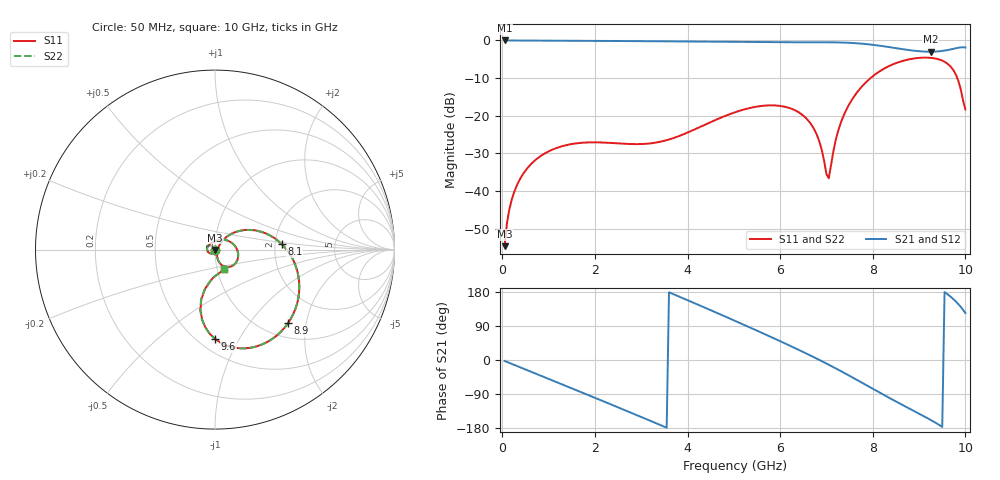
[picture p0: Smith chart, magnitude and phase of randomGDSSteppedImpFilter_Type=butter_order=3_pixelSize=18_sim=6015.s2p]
! freq	dB(S11)	phase(S11)	dB(S12)	phase(S12)
!  dB(S21)	phase(S21)	dB(S22)	phase(S22)
!S-par simulation data
#  GHz  S  DB  R 50
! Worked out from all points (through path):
!   200 points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, 50 MHz to 10 GHz, reference 50 ohm
!   highest |S21| = 0.00 dB at 50 MHz (marker M1); lowest = -3.0 dB at 9.25 GHz (marker M2)
!   group delay of S21, straight-line fit = 157 ps
!   lowest |S11| = -54.6 dB at 50 MHz (marker M3), VSWR 1.00, Z = 50 - j0.186 ohm
!   |S11| at or under -10 dB: start of sweep to 7.951 GHz; 9.825 GHz to end of sweep
!   |S22| runs from -54.6 to -4.6 dB; largest |S21 - S12| = 0
!   S11 on the Smith chart (normalised r, x): 50 MHz: 1.00, -0.00; 8.1 GHz: 2.17, +0.16; 8.9 GHz: 1.29, -1.58; 9.6 GHz: 0.60, -0.80; 10 GHz: 1.08, -0.24
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0.05  -54.60 -89.7  -0.00 -2.5  -0.00 -2.5  -54.60 -89.7
0.1  -48.55 -93.0  -0.01 -5.1  -0.01 -5.1  -48.55 -93.0
0.2  -42.45 -98.2  -0.02 -10.0  -0.02 -10.0  -42.45 -98.2
0.5  -34.55 -114.5  -0.03 -25.0  -0.03 -25.0  -34.55 -114.5
1.15  -28.64 -149.1  -0.07 -57.3  -0.07 -57.3  -28.64 -149.1
1.75  -27.14 179.7  -0.11 -87.2  -0.11 -87.2  -27.14 179.8
2.5  -27.33 140.6  -0.15 -125.0  -0.15 -125.0  -27.33 140.8
3.4  -26.92 93.6  -0.22 -170.9  -0.22 -170.9  -26.92 93.9
4.15  -23.64 56.0  -0.29 150.0  -0.29 150.0  -23.64 56.2
5.05  -18.97 10.6  -0.39 102.0  -0.39 102.0  -18.96 10.8
5.85  -17.23 -30.8  -0.47 58.1  -0.47 58.1  -17.23 -30.6
6.7  -22.84 -72.2  -0.47 9.1  -0.47 9.1  -22.82 -71.5
7.05  -36.58 0.5  -0.49 -12.5  -0.49 -12.5  -36.07 -0.5
7.2  -26.43 48.9  -0.51 -22.1  -0.51 -22.1  -26.38 47.8
7.4  -19.14 46.1  -0.58 -35.2  -0.58 -35.2  -19.13 45.6
8.1  -8.59 5.0  -1.31 -82.7  -1.31 -82.7  -8.59 4.8
8.35  -6.81 -11.0  -1.76 -99.5  -1.76 -99.5  -6.81 -11.1
8.9  -4.77 -45.1  -2.74 -135.2  -2.74 -135.2  -4.77 -45.2
9.25  -4.62 -66.5  -2.99 -158.1  -2.99 -158.1  -4.63 -66.6
9.6  -6.05 -89.9  -2.59 174.8  -2.59 174.8  -6.06 -90.0
9.8  -9.21 -103.5  -2.06 153.6  -2.06 153.6  -9.22 -103.8
10  -18.32 -65.1  -1.87 124.0  -1.87 124.0  -18.41 -65.2
